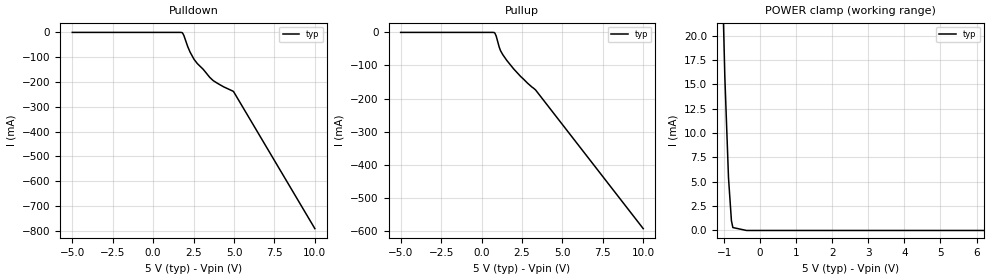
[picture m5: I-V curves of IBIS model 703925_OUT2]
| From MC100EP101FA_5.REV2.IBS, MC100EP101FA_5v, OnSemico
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| (C) COPYRIGHT 1993-2001
| MENTOR GRAPHICS CORPORATION
| ICX STANDARD LIBRARY, ICX PROJECT MODELING,
| ICX CUSTOM MODELING, ICX VENDOR MODEL
| ALL RIGHTS RESERVED.
| THE FOLLOWING ARE TRADEMARKS OR SERVICE MARKS OF
| MENTOR GRAPHICS CORPORATION:ICX (R), ICX STANDARD
| LIBRARY(R), ICX PROJECT MODELING(R), ICX CUSTOM
| MODELING(R), qualityIBIS(TM), MODELVIEWER(TM),
| AND MODELEDITOR(TM)
| ALL COPIES OF SOFTWARE, INCLUDING BUT NOT LIMITED TO
| ANY MODIFICATIONS, ENHANCEMENTS OR DERIVATIVE WORKS,
| MUST CONTAIN ALL MENTOR GRAPHICS CORPORATION'S
| NOTICES AND LEGENDS, INCLUDING THOSE EMBEDDED IN
| SOFTWARE AND THOSE AFFIXED TO SOFTWARE MEDIUM
| AND CONTAINER, AS RECEIVED FROM MENTOR GRAPHICS
| CORPORATION.
| Model Application Version 1.89 2/18/99.
[Model] 703925_OUT2
Model_type Output_ECL
Vref=3.000V
Rref=50.00ohms
Cref=0.000F
Vmeas=3.580V
C_comp 6.000pF NA NA
| variable typ   min   max
[Voltage Range] 5.000V NA NA
[POWER Clamp Reference] 5.000V NA NA
[Pullup Reference] 5.000V NA NA
[Pulldown Reference] 5.000V NA NA
[GND Clamp Reference] 0.000V NA NA
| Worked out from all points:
|   POWER clamp passes 1 mA (typ) near -0.80 V on its own axis
[GND Clamp]
-5V       0A         NA         NA
10V       0A         NA         NA
[Pulldown]
-5V       0A         NA         NA
1.676V    0A         NA         NA
1.818V    -2.5mA     NA         NA
1.899V    -12.2mA    NA         NA
2.142V    -58mA      NA         NA
2.284V    -79.5mA    NA         NA
2.527V    -108.5mA   NA         NA
2.73V     -125.7mA   NA         NA
3.723V    -195mA     NA         NA
4.98V     -239.7mA   NA         NA
10V       -791.9mA   NA         NA
[Pullup]
-5V       0A         NA         NA
703mV     0A         NA         NA
825mV     -2mA       NA         NA
906mV     -10.9mA    NA         NA
1.088V    -43.5mA    NA         NA
1.169V    -54.7mA    NA         NA
1.554V    -84.1mA    NA         NA
2.426V    -133.6mA   NA         NA
3.338V    -173.7mA   NA         NA
10V       -593.2mA   NA         NA
[POWER Clamp]
-5V       608.9mA    NA         NA
-980mV    15.8mA     NA         NA
-878mV    5.4mA      NA         NA
-797mV    1mA        NA         NA
-757mV    300uA      NA         NA
-378.5mV  0A         NA         NA
10V       0A         NA         NA
[Ramp]
| variable typ min max
dV/dt_r 317.0m/212.0p NA NA
dV/dt_f 317.0m/189.5p NA NA
R_load = 50.00Ohms
